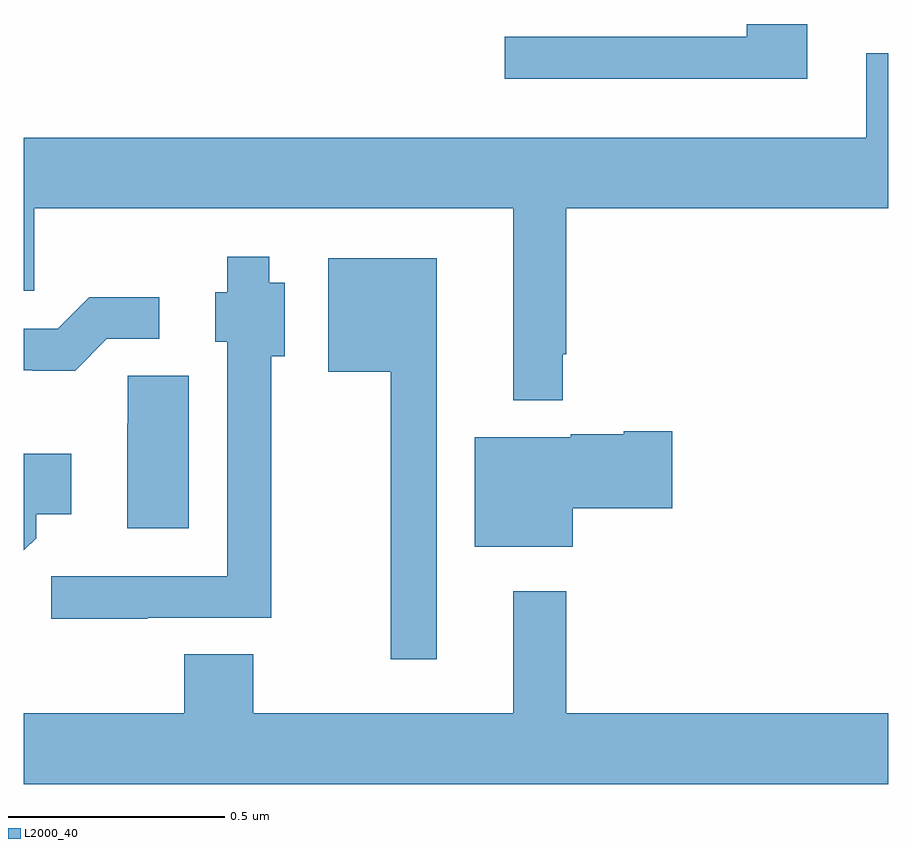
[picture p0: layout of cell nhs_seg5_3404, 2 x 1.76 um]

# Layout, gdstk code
import gdstk
lib = gdstk.Library(unit=1e-6, precision=1e-09)
def P(c, l, *ps):  # polygons
    for p in ps: c.add(gdstk.Polygon(p, *l))
L2000_40 = (2000, 40)

nhs_seg5_3404 = lib.new_cell('nhs_seg5_3404')
P(nhs_seg5_3404, L2000_40, [(157.813,911.799),(157.673,911.799),(157.673,911.769),(157.113,911.769),(157.113,911.672),(157.813,911.672)],
  [(157.247,911.035),(157.255,911.035),(157.255,911.372),(158,911.372),(158,911.731),(157.949,911.731),(157.949,911.536),(156,911.536),(156,911.182),(156.024,911.182),(156.024,911.372),(157.133,911.372),(157.133,910.928),(157.247,910.928)],
  [(156.287,910.425),(156.572,910.425),(156.572,911.03),(156.604,911.03),(156.604,911.2),(156.568,911.2),(156.568,911.26),(156.47,911.26),(156.47,911.178),(156.443,911.178),(156.443,911.064),(156.471,911.064),(156.471,910.521),(156.063,910.521),(156.063,910.423),(156.287,910.423)],
  [(156.955,911.257),(156.704,911.257),(156.704,910.994),(156.849,910.994),(156.849,910.329),(156.955,910.329)],
  [(156.192,911.07),(156.313,911.07),(156.313,911.167),(156.151,911.167),(156.078,911.094),(156,911.094),(156,910.998),(156.02,910.998),(156.02,910.997),(156.119,910.997)],
  [(156.382,910.985),(156.24,910.985),(156.24,910.874),(156.239,910.874),(156.239,910.632),(156.382,910.632)],
  [(157.27,910.678),(157.501,910.678),(157.501,910.856),(157.388,910.856),(157.388,910.849),(157.266,910.849),(157.266,910.843),(157.043,910.843),(157.043,910.589),(157.27,910.589)],
  [(156.028,910.609),(156.028,910.664),(156.109,910.664),(156.109,910.804),(156,910.804),(156,910.581)],
  [(158,910.204),(157.255,910.204),(157.255,910.486),(157.133,910.486),(157.133,910.204),(156.531,910.204),(156.531,910.34),(156.371,910.34),(156.371,910.204),(156,910.204),(156,910.04),(158,910.04)])

lib.write_gds('nhs_seg5_3404.gds')
